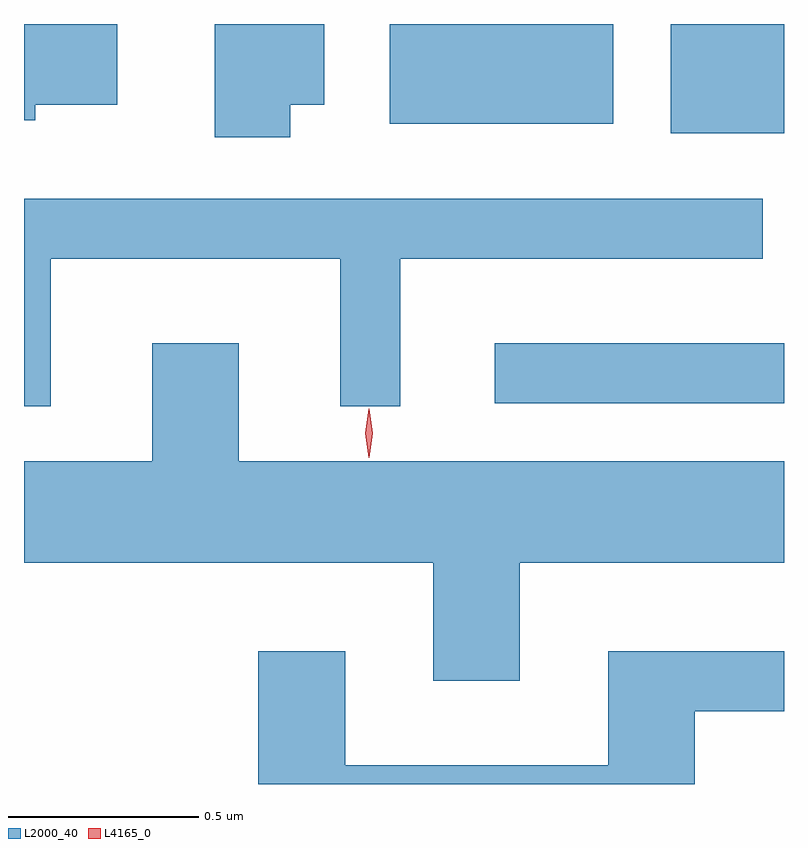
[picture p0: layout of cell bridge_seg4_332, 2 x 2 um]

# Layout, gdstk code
import gdstk
lib = gdstk.Library(unit=1e-6, precision=1e-09)
def R(c, l, rs):  # rectangles x0, y0, x1, y1
    for r in rs: c.add(gdstk.rectangle(r[:2], r[2:], *l))
def P(c, l, *ps):  # polygons
    for p in ps: c.add(gdstk.Polygon(p, *l))
L2000_40 = (2000, 40)
L4165_0 = (4165, 0)

bridge_seg4_332 = lib.new_cell('bridge_seg4_332')
R(bridge_seg4_332, L2000_40, [(726.543,1315.136,727.304,1315.294), (727.006,1315.846,727.304,1316.134), (726.266,1315.871,726.854,1316.134)])
P(bridge_seg4_332, L2000_40, [(726.004,1315.921),(726.094,1315.921),(726.094,1316.134),(725.806,1316.134),(725.806,1315.836),(726.004,1315.836)],
  [(725.334,1315.921),(725.549,1315.921),(725.549,1316.134),(725.304,1316.134),(725.304,1315.881),(725.334,1315.881)],
  [(725.374,1315.516),(726.136,1315.516),(726.136,1315.128),(726.294,1315.128),(726.294,1315.516),(727.248,1315.516),(727.248,1315.674),(725.304,1315.674),(725.304,1315.128),(725.374,1315.128)],
  [(726.609,1314.716),(727.304,1314.716),(727.304,1314.984),(725.869,1314.984),(725.869,1315.294),(725.641,1315.294),(725.641,1314.984),(725.304,1314.984),(725.304,1314.716),(726.381,1314.716),(726.381,1314.406),(726.609,1314.406)],
  [(727.069,1314.326),(727.304,1314.326),(727.304,1314.484),(726.841,1314.484),(726.841,1314.184),(726.149,1314.184),(726.149,1314.484),(725.921,1314.484),(725.921,1314.134),(727.069,1314.134)])
P(bridge_seg4_332, L4165_0, [(726.212,1314.992),(726.211,1314.993),(726.202,1315.057),(726.211,1315.121),(726.212,1315.122),(726.212,1315.121),(726.222,1315.057),(726.212,1314.993)])

lib.write_gds('bridge_seg4_332.gds')
